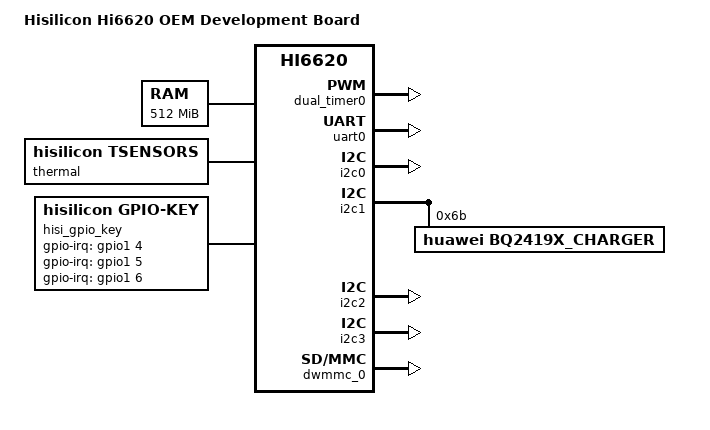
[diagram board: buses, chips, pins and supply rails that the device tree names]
/*
 *  Copyright (C) 2014 Hisilicon Ltd.
 *  Author: Bintian Wang <bintian.wang@huawei.com>
 *
 *  This program is free software; you can redistribute it and/or modify
 *  it under the terms of the GNU General Public License version 2 as
 *  publishhed by the Free Software Foundation.
 */

/dts-v1/;
/include/ "hi6620_pin_oem.dtsi"
/include/ "hi6620.dtsi"
/include/ "hi6620-clk.dtsi"
/include/ "hisi_hi6xxx_regulator.dtsi"
/include/ "test_hisi_hi6xxx_regulator.dtsi"
/include/ "hisi_hi6620_ion.dtsi"
/include/ "hi6620-touchscreen.dtsi"

/ {
	model = "Hisilicon Hi6620 OEM Development Board";
	compatible = "hisilicon,hi6620";
	hisi,boardid = <1 1 1>;
	#address-cells = <1>;
    #size-cells = <1>;
    interrupt-parent = <&gic>;

	chosen {};

	cpus {
		#address-cells = <1>;
		#size-cells = <0>;

		cpu@0 {
			compatible = "arm,cortex-a9";
			device_type = "cpu";
			reg = <0>;
			next-level-cache = <&l2>;
		};

		cpu@1 {
			compatible = "arm,cortex-a9";
			device_type = "cpu";
			reg = <1>;
			next-level-cache = <&l2>;
		};

		cpu@2 {
			compatible = "arm,cortex-a9";
			device_type = "cpu";
			reg = <2>;
			next-level-cache = <&l2>;
		};

		cpu@3 {
			compatible = "arm,cortex-a9";
			device_type = "cpu";
			reg = <3>;
			next-level-cache = <&l2>;
		};
	};

	memory {
		device_type = "memory";
		reg = <0x08600000 0x20000000>;
	};

	sctrl: sctrl@f711a000 {
		status = "ok";
	};

	ao_sctrl: ao_sctrl@f7410000 {
		status = "ok";
	};

	amba {
		dual_timer0: timer@f7405000 {
			status = "ok";
		};

		uart0: uart@f7110000 {	/* console */
		/*
			pinctrl-names = "default", "idle";
			pinctrl-0 = <&uart0_pmx_func &uart0_cfg_func>;
			pinctrl-1 = <&uart0_pmx_idle &uart0_cfg_idle>;
		*/
			status = "ok";
		};

		gpio0: gpio@f7800000 {
	 	        status = "ok";
		};
		gpio1: gpio@f7801000 {
                        status = "ok";
                };
		gpio2: gpio@f7802000 {
                        status = "ok";
                };
		gpio3: gpio@f7803000 {
                        status = "ok";
                };
		gpio4: gpio@f7130000 {
                        status = "ok";
                };
		gpio5: gpio@f7131000 {
                        status = "ok";
                };
		gpio6: gpio@f7132000 {
                        status = "ok";
                };
		gpio7: gpio@f7133000 {
                        status = "ok";
                };
		gpio8: gpio@f7134000 {
                        status = "ok";
                };
		gpio9: gpio@f7135000 {
                        status = "ok";
                };
		gpio10: gpio@f7136000 {
                        status = "ok";
                };
		gpio11: gpio@f7137000 {
                        status = "ok";
                };
		gpio12: gpio@f7138000 {
                        status = "ok";
                };
                gpio13: gpio@f7139000 {
                        status = "ok";
                };
		gpio14: gpio@f713a000 {
                        status = "ok";
                };
		gpio15: gpio@f713b000 {
                        status = "ok";
                };
		gpio16: gpio@f713c000 {
                        status = "ok";
                };
		gpio17: gpio@f713d000 {
                        status = "ok";
                };
		gpio18: gpio@f713e000 {
                        status = "ok";
                };
		gpio19: gpio@f7011000 {
                        status = "ok";
                };
		/*i2c bus node*/
		i2c0: i2c@f7100000 {
			status = "ok";
		};
		i2c1: i2c@f7101000 {
			status = "ok";
			bq2419x_charger:charger@6B {
				compatible = "huawei,bq2419x_charger";
				reg = <0x6B>;
				//gpio_cd = <&gpio4 0 0>;
				//gpio_int = <&gpio4 1 0>;
				//gpio_otg = <&gpio1 3 0>;
				max_charger_voltagemV = <4208>;
				max_charger_currentmA = <1000>;
				max_cin_limit_currentmA = <1200>;
				status = "ok";
			};
		};
		i2c2: i2c@f7102000 {
			status = "ok";
		};
		i2c3: i2c@f7103000 {
			status = "ok";
		};
		i2c4: i2c@f7104000 {
			status = "disabled";
		};
		i2c5: i2c@f7105000 {
			status = "disabled";
		};

	};

	/* emmc */
	dwmmc_0: dwmmc0@F4109000 {
 		compatible = "hisilicon,hi3630-dw-mshc";
 	    reg = <0xF4109000 0x1000>;
 		interrupts = <0 72 4>;
 		#address-cells = <1>;
 		#size-cells = <0>;
/*
 		clocks = <&clk_gate_mmc0>, <&clk_ppll0>;
 		clock-names = "ciu", "biu";
*/
     };

	thermal {
		compatible = "hisilicon,tsensors";
		tsen_num = <2>;
		tsen_enable = <0x03>;
		tsen_lag_value0 = <10>;
		tsen_lag_value1 = <10>;
		tsen_thres_value0 = <95>;
		tsen_thres_value1 = <95>;
		tsen_reset_thres_value0 = <120>;
		tsen_reset_thres_value1 = <120>;
		tsen_alarm_count1 = <5>;
		tsen_alarm_count2 = <300>;
		tsen_resume_count = <30>;
		acpu_maxfreq = <800>;
		gpu_maxfreq = <120>;
		ddr_maxfreq = <360>;
	};

	hisi_gpio_key {
       compatible = "hisilicon,gpio-key";
       pinctrl-names = "default", "idle";
       pinctrl-0 = <&GPIO_1_4_pmx_func
                    &GPIO_1_5_pmx_func
                    &GPIO_1_6_pmx_func
                    &GPIO_1_4_cfg_func
                    &GPIO_1_5_cfg_func
                    &GPIO_1_6_cfg_func>;
       pinctrl-1 = <&GPIO_1_4_pmx_idle
                    &GPIO_1_5_pmx_idle
                    &GPIO_1_6_pmx_idle
                    &GPIO_1_4_cfg_idle
                    &GPIO_1_5_cfg_idle
                    &GPIO_1_6_cfg_idle>;
       gpio-keyup,gpio-irq = <&gpio1 4 0>;
       gpio-keydown,gpio-irq = <&gpio1 5 0>;
       gpio-keyback,gpio-irq = <&gpio1 6 0>;
       status = "ok";
   };
};
